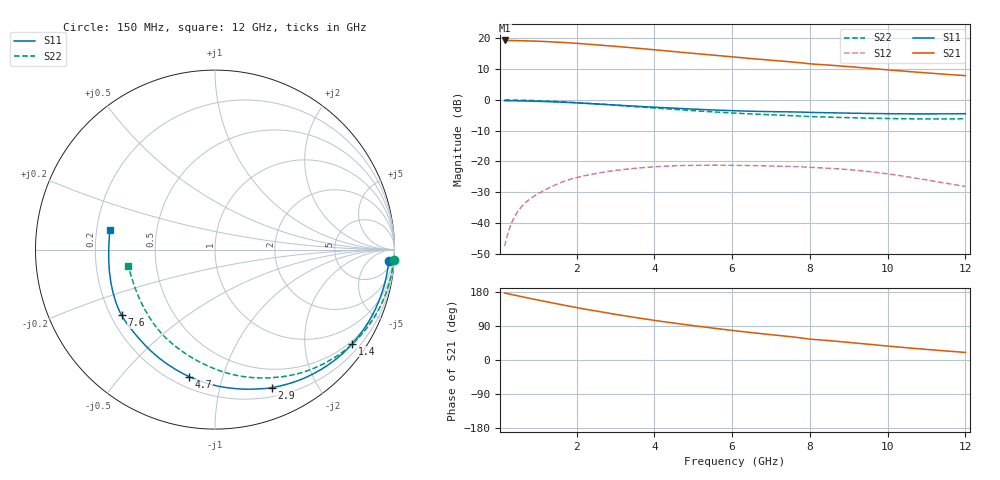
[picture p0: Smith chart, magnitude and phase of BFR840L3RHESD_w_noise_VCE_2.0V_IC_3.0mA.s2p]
! Infineon Technologies  Discrete & RF Semiconductors
! BFR840L3RHESD
! VCE =  2.0 V,  IC =  3.0 mA
! Common Emitter S-Parameters:  Jun 2012
# GHz  S  MA  R  50
!  f  S11  S21  S12  S22
! GHz  MAG  ANG  MAG  ANG  MAG  ANG  MAG  ANG
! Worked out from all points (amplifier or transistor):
!   91 points, 150 MHz to 12 GHz, reference 50 ohm
!   highest |S21| = 19.3 dB at 150 MHz (marker M1)
!   |S21| within 3 dB of that: start of sweep to 3.976 GHz
!   unconditionally stable (mu >= 1): 9.78 GHz to end of sweep
!   at 1.3 GHz: K = 0.09, MSG = 23.7 dB, |S12| = -28.5 dB
!   at 4.3 GHz: K = 0.23, MSG = 18.7 dB, |S12| = -21.5 dB
!   at 12 GHz: K = 2.27, MAG = 11.6 dB, |S12| = -28.1 dB
!   lowest NFmin = 0.41 dB at 450 MHz
!   S11 on the Smith chart (normalised r, x): 150 MHz: 11, -24; 1.4 GHz: 0.42, -3.18; 2.9 GHz: 0.29, -1.45; 4.7 GHz: 0.26, -0.78; 7.6 GHz: 0.24, -0.30; 12 GHz: 0.26, +0.09
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0.15  0.9698 -3.9  9.219 176.6  0.0042 80.3  0.9962 -3.2
0.3  0.9674 -7.7  9.193 173.5  0.009 77.3  0.9939 -6.5
0.5  0.9629 -12.7  9.147 169.1  0.0158 79.2  0.9887 -10.7
0.9  0.9498 -22.5  9.006 160.5  0.0271 73.5  0.9737 -19.0
1.4  0.9277 -34.4  8.725 150.3  0.0401 63.1  0.9467 -29.1
1.8  0.905 -43.8  8.439 142.3  0.0503 57.3  0.9185 -37.0
2.2  0.8786 -53.0  8.113 134.6  0.0584 51.0  0.8862 -44.5
2.6  0.8517 -61.5  7.75 127.5  0.0652 44.3  0.8531 -51.7
2.9  0.8312 -67.7  7.487 122.3  0.0701 40.7  0.8286 -56.8
3  0.824 -69.9  7.413 120.5  0.0715 39.6  0.8199 -58.4
3.5  0.7892 -79.7  6.946 112.4  0.0772 32.2  0.7767 -66.9
4.2  0.7489 -92.7  6.335 101.7  0.0831 24.0  0.7232 -77.7
4.7  0.7223 -101.5  5.925 94.8  0.0855 18.7  0.688 -85.0
5.4  0.6898 -113.1  5.404 85.6  0.0868 11.6  0.6437 -94.8
6.1  0.6646 -123.8  4.931 76.9  0.0864 5.1  0.6075 -104.3
6.8  0.6467 -133.8  4.509 69.0  0.0848 -0.5  0.5789 -113.3
7.6  0.6358 -144.9  4.092 60.4  0.0823 -6.6  0.5514 -123.5
8  0.6257 -151.9  3.847 55.1  0.0801 -10.9  0.5351 -129.8
8.5  0.617 -157.0  3.663 51.1  0.0773 -14.2  0.5239 -134.6
9.5  0.6009 -168.2  3.265 41.7  0.0686 -21.5  0.5044 -145.4
10.5  0.5926 -178.3  2.898 32.3  0.0564 -27.2  0.4925 -155.8
12  0.596 169.6  2.473 20.0  0.0392 -27.0  0.4929 -169.0
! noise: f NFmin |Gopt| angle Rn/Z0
0.45  0.41  0.69  8  0.22
0.9  0.45  0.67  12  0.22
1.9  0.5  0.62  28  0.21
3.5  0.53  0.64  46  0.19
4  0.56  0.64  54  0.18
5.5  0.62  0.65  72  0.16
7  0.71  0.6  92  0.14
8  0.79  0.58  101  0.13
10  0.93  0.51  122  0.1
12  1.11  0.43  154  0.07
